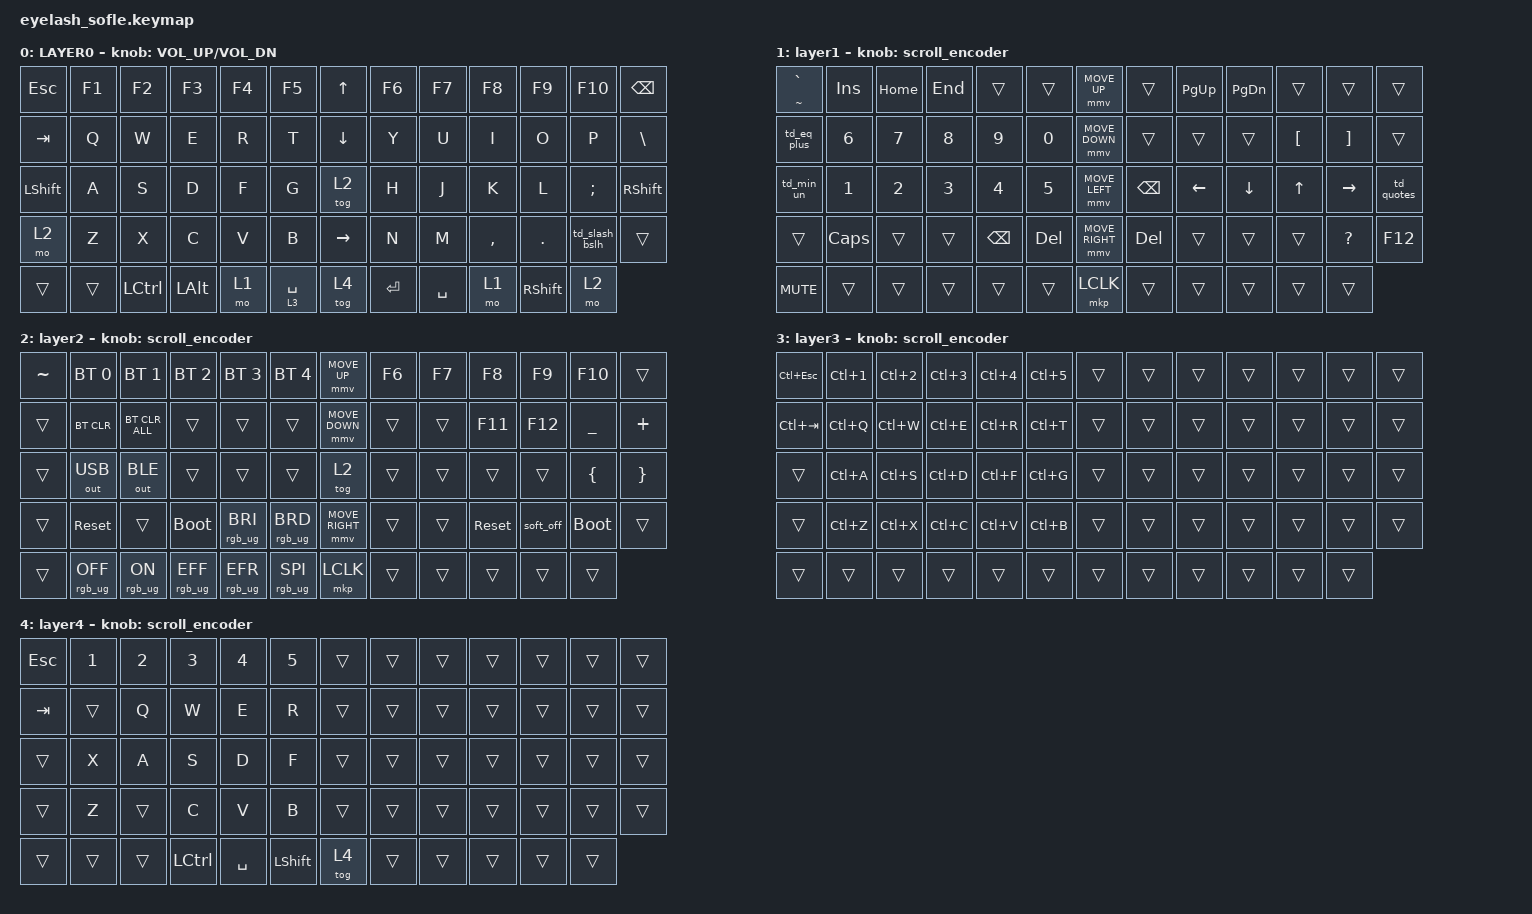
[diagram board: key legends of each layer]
#define ZMK_POINTING_DEFAULT_MOVE_VAL 1200
#define ZMK_POINTING_DEFAULT_SCRL_VAL 25

#include <input/processors.dtsi>
#include <zephyr/dt-bindings/input/input-event-codes.h>
#include <behaviors.dtsi>
#include <dt-bindings/zmk/bt.h>
#include <dt-bindings/zmk/keys.h>
#include <dt-bindings/zmk/outputs.h>
#include <dt-bindings/zmk/pointing.h>
#include <dt-bindings/zmk/rgb.h>

&mmv_input_listener { input-processors = <&zip_xy_scaler 2 1>; };
&msc_input_listener { input-processors = <&zip_scroll_scaler 2 1>; };

&msc {
    acceleration-exponent = <1>;
    time-to-max-speed-ms = <100>;
    delay-ms = <0>;
};

&mmv {
    time-to-max-speed-ms = <500>;
    acceleration-exponent = <1>;
    trigger-period-ms = <16>;
};

&soft_off { hold-time-ms = <2000>; };

/ {
    scroll_encoder: scroll_encoder {
        compatible = "zmk,behavior-sensor-rotate";
        #sensor-binding-cells = <0>;
        bindings = <&msc SCRL_DOWN>, <&msc SCRL_UP>;
        tap-ms = <100>;
    };

    behaviors {
        sh_mo: sh_mo {
            compatible = "zmk,behavior-hold-tap";
            #binding-cells = <2>;
            flavor = "balanced";
            tapping-term-ms = <200>;
            bindings = <&mo>, <&kp>;
        };

        min_ht: minus_hold_tap {
            compatible = "zmk,behavior-hold-tap";
            #binding-cells = <2>;
            flavor = "hold-preferred";
            tapping-term-ms = <200>;
            quick-tap-ms = <200>;
            bindings = <&kp>, <&kp>;
        };

        td_min_un: td_min_un {
            compatible = "zmk,behavior-tap-dance";
            #binding-cells = <0>;
            tapping-term-ms = <200>;
            bindings = <&min_ht MINUS MINUS>, <&kp UNDER>;
        };

        td_eq_plus: td_eq_plus {
            compatible = "zmk,behavior-tap-dance";
            #binding-cells = <0>;
            tapping-term-ms = <200>;
            bindings = <&kp EQUAL>, <&kp PLUS>;
        };

        td_slash_bslh: td_slash_bslh {
            compatible = "zmk,behavior-tap-dance";
            #binding-cells = <0>;
            tapping-term-ms = <200>;
            bindings = <&kp FSLH>, <&kp BSLH>;
        };

        td_quotes: td_quotes {
            compatible = "zmk,behavior-tap-dance";
            #binding-cells = <0>;
            tapping-term-ms = <200>;
            bindings = <&kp APOS>, <&kp DOUBLE_QUOTES>;
        };

        grv_tld: grv_tld {
            compatible = "zmk,behavior-hold-tap";
            #binding-cells = <2>;
            flavor = "tap-preferred";
            tapping-term-ms = <200>;
            bindings = <&kp>, <&kp>;
        };
    };

    combos {
        compatible = "zmk,combos";
        softoff {
            bindings = <&soft_off>;
            key-positions = <14 28 40>;
        };

        combo_gui {
            timeout-ms = <50>;
            key-positions = <54 55>;
            bindings = <&kp LGUI>;
            layers = <0>;
        };
    };

    macros {
        SHIFT_MCLK: SHIFT_MCLK {
            compatible = "zmk,behavior-macro";
            #binding-cells = <0>;
            bindings = <&macro_press &kp LSHFT &mkp MB3>, <&macro_pause_for_release>, <&macro_release &mkp MB3 &kp LSHFT>;
            label = "SHIFT_MCLK";
        };
    };

    keymap {
        compatible = "zmk,keymap";

        layer0 {
            display-name = "LAYER0";
            bindings = <
&kp ESC     &kp F1    &kp F2    &kp F3    &kp F4    &kp F5    &kp UP    &kp F6    &kp F7    &kp F8    &kp F9    &kp F10   &kp BSPC
&kp TAB     &kp Q     &kp W     &kp E     &kp R     &kp T     &kp DOWN  &kp Y     &kp U     &kp I     &kp O     &kp P     &kp BSLH
&kp LSHFT   &kp A     &kp S     &kp D     &kp F     &kp G     &tog 2    &kp H     &kp J     &kp K     &kp L     &kp SEMI  &kp RSHFT
&mo 2       &kp Z     &kp X     &kp C     &kp V     &kp B     &kp RIGHT &kp N     &kp M     &kp COMMA &kp DOT   &td_slash_bslh &trans
&trans      &trans    &kp LCTRL &kp LALT  &mo 1     &sh_mo 3 SPACE &tog 4 &kp RET &kp SPACE &mo 1     &kp RSHFT &mo 2
            >;
            sensor-bindings = <&inc_dec_kp C_VOL_UP C_VOL_DN>;
        };

        layer_1 {
            display-name = "layer1";
            bindings = <
&grv_tld TILDE GRAVE  &kp INSERT  &kp HOME     &kp END    &trans          &trans       &mmv MOVE_UP     &trans           &kp PG_UP       &kp PG_DN    &trans       &trans       &trans
&td_eq_plus           &kp N6      &kp N7       &kp N8     &kp N9          &kp N0       &mmv MOVE_DOWN   &trans           &trans          &trans       &kp LBKT     &kp RBKT     &trans
&td_min_un            &kp N1      &kp N2       &kp N3     &kp N4          &kp N5       &mmv MOVE_LEFT   &kp BACKSPACE    &kp LEFT        &kp DOWN     &kp UP       &kp RIGHT    &td_quotes
&trans                &kp CAPS    &trans       &trans     &kp BACKSPACE   &kp DELETE   &mmv MOVE_RIGHT  &kp DELETE       &trans          &trans       &trans       &kp QMARK    &kp F12
&kp C_MUTE            &trans      &trans       &trans     &trans          &trans       &mkp LCLK        &trans           &trans          &trans       &trans       &trans
            >;
            sensor-bindings = <&scroll_encoder>;
        };

        layer_2 {
            display-name = "layer2";
            bindings = <
&kp TILDE  &bt BT_SEL 0      &bt BT_SEL 1      &bt BT_SEL 2     &bt BT_SEL 3      &bt BT_SEL 4        &mmv MOVE_UP     &kp F6  &kp F7  &kp F8      &kp F9      &kp F10       &trans
&trans     &bt BT_CLR        &bt BT_CLR_ALL     &trans          &trans            &trans              &mmv MOVE_DOWN   &trans  &trans  &kp F11     &kp F12     &kp UNDER     &kp PLUS
&trans     &out OUT_USB      &out OUT_BLE       &trans          &trans            &trans              &tog 2           &trans  &trans  &trans      &trans      &kp LBRC      &kp RBRC
&trans     &sys_reset        &trans             &bootloader     &rgb_ug RGB_BRI   &rgb_ug RGB_BRD     &mmv MOVE_RIGHT  &trans  &trans  &sys_reset  &soft_off   &bootloader   &trans
&trans     &rgb_ug RGB_OFF   &rgb_ug RGB_ON     &rgb_ug RGB_EFF &rgb_ug RGB_EFR   &rgb_ug RGB_SPI     &mkp LCLK        &trans  &trans  &trans      &trans      &trans
            >;
            sensor-bindings = <&scroll_encoder>;
        };

        layer_3 {
            display-name = "layer3";
            bindings = <
&kp LC(ESC)     &kp LC(N1)    &kp LC(N2)    &kp LC(N3)    &kp LC(N4)    &kp LC(N5)    &trans        &trans  &trans  &trans  &trans  &trans  &trans
&kp LC(TAB)     &kp LC(Q)     &kp LC(W)     &kp LC(E)     &kp LC(R)     &kp LC(T)     &trans        &trans  &trans  &trans  &trans  &trans  &trans
&trans          &kp LC(A)     &kp LC(S)     &kp LC(D)     &kp LC(F)     &kp LC(G)     &trans        &trans  &trans  &trans  &trans  &trans  &trans
&trans          &kp LC(Z)     &kp LC(X)     &kp LC(C)     &kp LC(V)     &kp LC(B)     &trans        &trans  &trans  &trans  &trans  &trans  &trans
&trans          &trans        &trans        &trans        &trans        &trans        &trans        &trans  &trans  &trans  &trans  &trans
            >;
            sensor-bindings = <&scroll_encoder>;
        };

        layer_4 {
            display-name = "layer4";
            bindings = <
&kp ESC   &kp N1    &kp N2    &kp N3     &kp N4        &kp N5         &trans    &trans  &trans  &trans  &trans  &trans  &trans
&kp TAB   &trans    &kp Q     &kp W      &kp E         &kp R          &trans    &trans  &trans  &trans  &trans  &trans  &trans
&trans    &kp X     &kp A     &kp S      &kp D         &kp F          &trans    &trans  &trans  &trans  &trans  &trans  &trans
&trans    &kp Z     &trans    &kp C      &kp V         &kp B          &trans    &trans  &trans  &trans  &trans  &trans  &trans
&trans    &trans    &trans    &kp LCTRL  &kp SPACE     &kp LSHFT      &tog 4    &trans  &trans  &trans  &trans  &trans
            >;
            sensor-bindings = <&scroll_encoder>;
        };
    };
};
